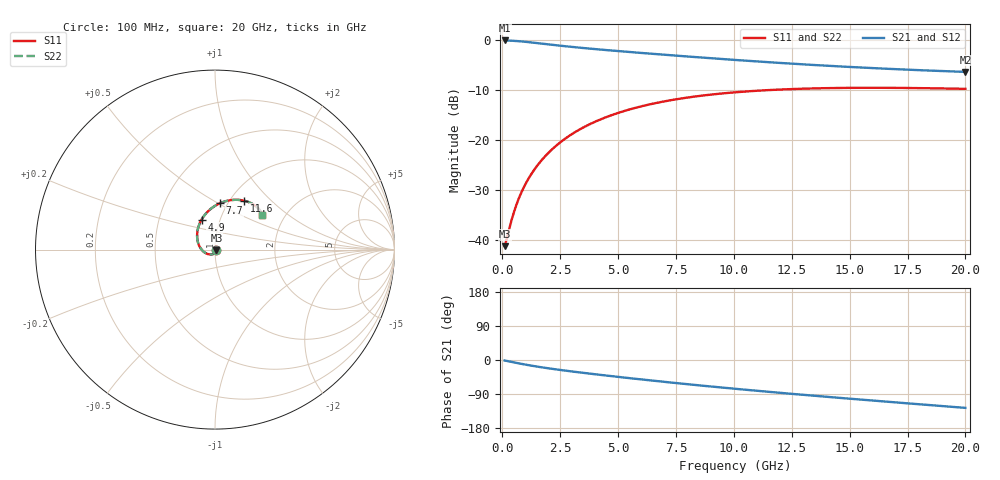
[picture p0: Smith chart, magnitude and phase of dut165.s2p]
! Touchstone file exported from HFSS 2024.1.0
!  File:  C:/UserFiles/LocalFiles/RDL_TSV_Batchsim/temp_RDL_TSV_165_1779435410.aedt
!  Generated:  03:50:49 PM May 22, 2026
!  Design:  RDL_TSV
!  Project:  temp_RDL_TSV_165_1779435410
!  Setup:  Setup1
!  Solution:  Sweep
! Variables:
!  dtsv = 12.64um
!  hbump = 3um
!  htsv = 73.24um
!  ldown = 116.46um
!  lrdl = 281.76um
!  p = 40
!  p1 = 48.96um
!  rhole = 10um
!  subl = 1476.42um
!  t = 450um
!  tdown = 4.77um
!  trdl = 4um
!  viad = 10um
!  wdown = 24.4um
!  wrdl = 16.05um
!  xbump = 18um
# GHz S MA R 50.000000
! Terminal data exported
! Port[1] = TM1_1_T1
! Port[2] = TM1_4_T1
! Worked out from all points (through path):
!   200 points, 100 MHz to 20 GHz, reference 50 ohm
!   highest |S21| = -0.07 dB at 100 MHz (marker M1); lowest = -6.4 dB at 20 GHz (marker M2)
!   group delay of S21, straight-line fit = 16.5 ps
!   lowest |S11| = -41.3 dB at 100 MHz (marker M3), VSWR 1.02, Z = 50.8 - j0.397 ohm
!   |S11| at or under -10 dB: start of sweep to 11.56 GHz
!   |S22| runs from -41.3 to -9.6 dB; largest |S21 - S12| = 2.1e-14
!   S11 on the Smith chart (normalised r, x): 100 MHz: 1.02, -0.01; 4.9 GHz: 0.82, +0.28; 7.7 GHz: 0.92, +0.51; 11.6 GHz: 1.16, +0.70; 20 GHz: 1.54, +0.66
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0.1  0.008633 -26.9  0.9915 -1.3  0.9915 -1.3  0.008633 -26.9
! Gamma 0 0 0 0
! Port Impedance 50 0 50 0
0.2  0.0104 -49.1  0.9902 -2.6  0.9902 -2.6  0.0104 -49.1
0.4  0.01572 -80.0  0.9857 -5.1  0.9857 -5.1  0.01572 -80.0
0.5  0.01883 -91.2  0.9827 -6.3  0.9827 -6.3  0.01883 -91.2
0.7  0.02547 -109.5  0.9752 -8.7  0.9752 -8.7  0.02547 -109.5
1  0.0361 -131.0  0.9612 -12.2  0.9612 -12.2  0.0361 -131.0
1.3  0.04728 -148.5  0.9451 -15.4  0.9451 -15.4  0.04728 -148.5
1.7  0.06276 -167.7  0.9223 -19.3  0.9223 -19.3  0.06276 -167.7
2.2  0.08257 173.0  0.8944 -23.8  0.8944 -23.8  0.08258 173.0
2.8  0.1064 154.7  0.864 -28.7  0.864 -28.7  0.1064 154.7
3.5  0.1334 138.1  0.8327 -34.0  0.8327 -34.0  0.1334 138.1
4.2  0.1591 124.9  0.805 -39.0  0.805 -39.0  0.1591 124.9
4.9  0.1831 114.1  0.7799 -43.9  0.7799 -43.9  0.1831 114.1
5.8  0.2112 102.5  0.75 -49.9  0.75 -49.9  0.2112 102.5
6.8  0.2385 92.0  0.7192 -56.4  0.7192 -56.4  0.2385 92.0
7.7  0.2595 84.0  0.6933 -62.0  0.6933 -62.0  0.2596 84.0
8.8  0.281 75.7  0.6637 -68.7  0.6637 -68.7  0.281 75.7
10.1  0.3006 67.4  0.6316 -76.2  0.6316 -76.2  0.3006 67.4
11.6  0.3166 59.5  0.5985 -84.5  0.5985 -84.5  0.3166 59.4
13.4  0.328 51.8  0.5642 -94.0  0.5642 -94.0  0.328 51.8
16.7  0.3326 41.8  0.515 -110.5  0.515 -110.5  0.3326 41.8
20  0.3248 36.2  0.4802 -126.4  0.4802 -126.4  0.3248 36.2
